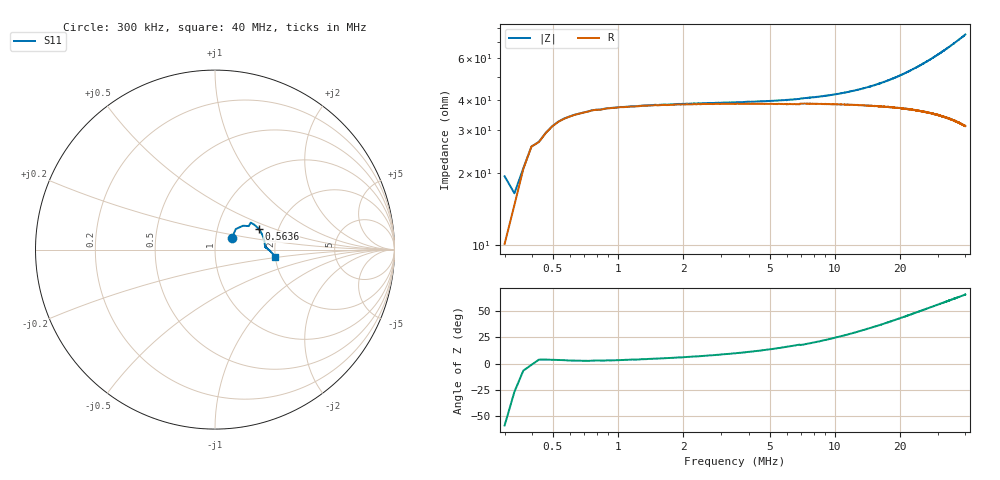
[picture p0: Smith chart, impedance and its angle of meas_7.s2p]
# HZ S RI R 50
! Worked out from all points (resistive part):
!   1206 points, 300 kHz to 40 MHz, reference 50 ohm
!   read as one part in series: R = 31.2 ohm at 497.7 kHz
!   S11 on the Smith chart (normalised r, x): 300 kHz: 1.19, +0.15; 563.6 kHz: 1.58, +0.40; 40 MHz: 2.00, -0.18
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300000  0.0927 0.0622  0.8884 0.1329  0 0  0 0
398838  0.188 0.131  0.7957 0.00332  0 0  0 0
530622  0.2358 0.1235  0.7541 -0.0111  0 0  0 0
563568  0.2425 0.1163  0.7486 -0.011  0 0  0 0
596514  0.2475 0.1098  0.7449 -0.00993  0 0  0 0
662406  0.2551 0.0984  0.7393 -0.00928  0 0  0 0
761244  0.2621 0.0854  0.7331 -0.00968  0 0  0 0
925974  0.2684 0.07  0.7289 -0.0107  0 0  0 0
1123650  0.2724 0.0575  0.7263 -0.0129  0 0  0 0
1354272  0.2749 0.0477  0.724 -0.0151  0 0  0 0
1947300  0.2771 0.0335  0.7218 -0.0207  0 0  0 0
2738004  0.2782 0.0247  0.7202 -0.0282  0 0  0 0
3759330  0.2792 0.0191  0.7191 -0.0376  0 0  0 0
5867874  0.2819 0.0137  0.7169 -0.0561  0 0  0 0
6691524  0.2827 0.0122  0.7159 -0.0635  0 0  0 0
6922146  0.281 0.0153  0.7147 -0.0636  0 0  0 0
7119822  0.2812 0.0149  0.7143 -0.0652  0 0  0 0
1.354429e7  0.2896 0.00704  0.7036 -0.1207  0 0  0 0
2.016644e7  0.2993 -0.00128  0.6843 -0.175  0 0  0 0
2.678858e7  0.3106 -0.0113  0.6606 -0.2255  0 0  0 0
3.341073e7  0.3227 -0.0241  0.6317 -0.2716  0 0  0 0
3.999993e7  0.3348 -0.0391  0.5985 -0.3126  0 0  0 0
